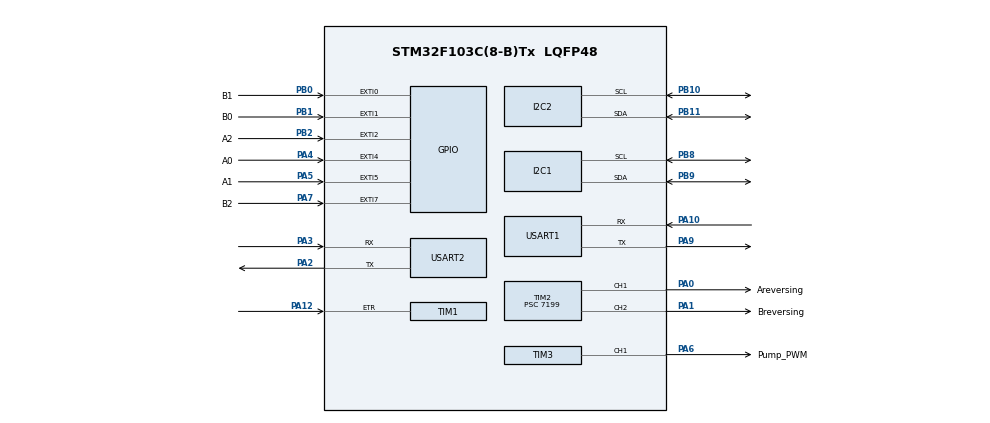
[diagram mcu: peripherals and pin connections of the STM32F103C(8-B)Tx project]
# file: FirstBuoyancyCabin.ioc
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Mcu.Family=STM32F1
PB10.Mode=I2C
SH.S_TIM1_ETR.0=TIM1_ETR,ClockSourceETR_Mode2
PA6.GPIO_Label=Pump_PWM
PB0.GPIO_Label=B1
TIM2.Channel-PWM\ Generation2\ CH2=TIM_CHANNEL_2
PB11.Signal=I2C2_SDA
ProjectManager.StackSize=0x400
PD1-OSC_OUT.Signal=RCC_OSC_OUT
Dma.USART1_TX.0.Priority=DMA_PRIORITY_MEDIUM
NVIC.EXTI1_IRQn=true\:0\:0\:false\:false\:true\:true\:true
PA12.Signal=S_TIM1_ETR
Dma.USART1_TX.0.Direction=DMA_MEMORY_TO_PERIPH
TIM3.Period=9999
TIM3.Channel-PWM\ Generation1\ CH1=TIM_CHANNEL_1
PB2.Signal=GPXTI2
PA14.Mode=Serial_Wire
TIM3.Prescaler=7199
PB1.GPIO_Label=B0
NVIC.TIM2_IRQn=true\:0\:0\:false\:false\:true\:true\:true
TIM2.Channel-PWM\ Generation1\ CH1=TIM_CHANNEL_1
SH.S_TIM3_CH1.0=TIM3_CH1,PWM Generation1 CH1
Dma.USART1_TX.0.PeriphDataAlignment=DMA_PDATAALIGN_BYTE
PB9.Signal=I2C1_SDA
Mcu.Package=LQFP48
TIM2.Prescaler=7199
PB1.Signal=GPXTI1
PA6.Signal=S_TIM3_CH1
USART2.VirtualMode=VM_ASYNC
PA10.Signal=USART1_RX
Dma.USART1_TX.0.Instance=DMA1_Channel4
NVIC.EXTI2_IRQn=true\:0\:0\:false\:false\:true\:true\:true
NVIC.DMA1_Channel4_IRQn=true\:0\:0\:false\:false\:true\:false\:true
Dma.Request0=USART1_TX
PA4.GPIO_Label=A0
VP_TIM3_VS_ClockSourceINT.Mode=Internal
PA3.Signal=USART2_RX
NVIC.EXTI4_IRQn=true\:0\:0\:false\:false\:true\:true\:true
Dma.USART1_TX.0.MemInc=DMA_MINC_ENABLE
PD1-OSC_OUT.Mode=HSE-External-Oscillator
Dma.USART1_TX.0.PeriphInc=DMA_PINC_DISABLE
PA10.Mode=Asynchronous
PD0-OSC_IN.Signal=RCC_OSC_IN
PA0-WKUP.GPIO_Label=Areversing
PA0-WKUP.Signal=S_TIM2_CH1_ETR
PA13.Signal=SYS_JTMS-SWDIO
PA3.Mode=Asynchronous
TIM1.AutoReloadPreload=TIM_AUTORELOAD_PRELOAD_ENABLE
SH.S_TIM2_CH2.0=TIM2_CH2,PWM Generation2 CH2
PA9.Mode=Asynchronous
PB11.Mode=I2C
ProjectManager.TargetToolchain=STM32CubeIDE
PB9.Mode=I2C
PA9.Signal=USART1_TX
PA1.Signal=S_TIM2_CH2
PD0-OSC_IN.Mode=HSE-External-Oscillator
PB10.Signal=I2C2_SCL
PA5.Signal=GPXTI5
Dma.USART1_TX.0.Mode=DMA_NORMAL
board=custom
RCC.APB2Freq_Value=8000000
VP_TIM2_VS_ClockSourceINT.Mode=Internal
PA1.GPIO_Label=Breversing
TIM2.Period=9999
PA13.Mode=Serial_Wire
Mcu.Name=STM32F103C(8-B)Tx
PA2.Signal=USART2_TX
NVIC.EXTI0_IRQn=true\:0\:0\:false\:false\:true\:true\:true
PA4.Signal=GPXTI4
PA7.GPIO_Label=B2
PA5.GPIO_Label=A1
USART1.VirtualMode=VM_ASYNC
SH.S_TIM2_CH1_ETR.0=TIM2_CH1,PWM Generation1 CH1
Dma.USART1_TX.0.MemDataAlignment=DMA_MDATAALIGN_BYTE
NVIC.EXTI9_5_IRQn=true\:0\:0\:false\:false\:true\:true\:true
PA14.Signal=SYS_JTCK-SWCLK
PB2.GPIO_Label=A2
ProjectManager.HeapSize=0x200
NVIC.PriorityGroup=NVIC_PRIORITYGROUP_4
PB8.Mode=I2C
PA2.Mode=Asynchronous
PB8.Signal=I2C1_SCL
TIM2.AutoReloadPreload=TIM_AUTORELOAD_PRELOAD_ENABLE
RCC.APB1Freq_Value=8000000
PB0.Signal=GPXTI0
PA7.Signal=GPXTI7

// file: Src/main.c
/* USER CODE BEGIN Header */
/**
  ******************************************************************************
  * @file           : main.c
  * @brief          : Main program body
  ******************************************************************************
  * @attention
  *
  * <h2><center>&copy; Copyright (c) 2021 STMicroelectronics.
  * All rights reserved.</center></h2>
  *
  * This software component is licensed by ST under BSD 3-Clause license,
  * the "License"; You may not use this file except in compliance with the
  * License. You may obtain a copy of the License at:
  *                        opensource.org/licenses/BSD-3-Clause
  *
  ******************************************************************************
  */
/* USER CODE END Header */
#include "main.h"
#include "dma.h"
#include "i2c.h"
#include "tim.h"
#include "usart.h"
#include "gpio.h"

/* USER CODE BEGIN Includes */
#include "pump.h"
#include <ms5837.h>
#include <stdio.h>
extern UART_HandleTypeDef huart1;   //声明串口

/* USER CODE END Includes */

/* USER CODE BEGIN PV */
extern struct state state;
/* USER CODE END PV */

void SystemClock_Config(void);

/* USER CODE BEGIN 0 */
#ifdef __GNUC__

#define PUTCHAR_PROTOTYPE int __io_putchar(int ch)

PUTCHAR_PROTOTYPE
{
    HAL_UART_Transmit(&huart1 ,(uint8_t*)&ch, 1, HAL_MAX_DELAY);
    return ch;
}
#endif
/* USER CODE END 0 */

int main(void)
{

  /* MCU Configuration--------------------------------------------------------*/

  /* Reset of all peripherals, Initializes the Flash interface and the Systick. */
  HAL_Init();

  /* Configure the system clock */
  SystemClock_Config();

  /* Initialize all configured peripherals */
  MX_GPIO_Init();
  MX_DMA_Init();
  MX_TIM1_Init();
  MX_TIM2_Init();
  MX_USART2_UART_Init();
  MX_I2C1_Init();
  MX_I2C2_Init();
  MX_TIM3_Init();
  MX_USART1_UART_Init();
  /* USER CODE BEGIN 2 */
    HAL_NVIC_DisableIRQ(EXTI0_IRQn);
    HAL_NVIC_DisableIRQ(EXTI1_IRQn);
    HAL_NVIC_DisableIRQ(EXTI2_IRQn);
    HAL_NVIC_DisableIRQ(EXTI4_IRQn);
    HAL_NVIC_DisableIRQ(EXTI9_5_IRQn);//默认先关闭所有IT

    TIM2->CCR1=2000;
    TIM2->CCR2=2000;//预设的占空比
    printf("Hello");
    //prom();

    HAL_TIM_Base_Start(&htim1);
    HAL_TIM_Base_Start_IT(&htim2);
    HAL_TIM_PWM_Start(&htim2,TIM_CHANNEL_1);

  /* USER CODE END 2 */

  /* Infinite loop */
  /* USER CODE BEGIN WHILE */
    uint16_t st=3,i=0;
    uint8_t send[]="Hello";
    //HAL_UART_Transmit_DMA(&huart1,send,sizeof(send));

  while (1)
  {
      printf("hello");
    if(st!=3)//仅供测试,要调试状态下手动修改
    {
        //SteeringValve(st);
        st=3;
    }

      //convert();//深度计算
      HAL_Delay(10);
    /* USER CODE END WHILE */

  }
}

void SystemClock_Config(void)
{
  RCC_OscInitTypeDef RCC_OscInitStruct = {0};
  RCC_ClkInitTypeDef RCC_ClkInitStruct = {0};

  /** Initializes the RCC Oscillators according to the specified parameters
  * in the RCC_OscInitTypeDef structure.
  */
  RCC_OscInitStruct.OscillatorType = RCC_OSCILLATORTYPE_HSI;
  RCC_OscInitStruct.HSIState = RCC_HSI_ON;
  RCC_OscInitStruct.HSICalibrationValue = RCC_HSICALIBRATION_DEFAULT;
  RCC_OscInitStruct.PLL.PLLState = RCC_PLL_NONE;
  if (HAL_RCC_OscConfig(&RCC_OscInitStruct) != HAL_OK)
  {
    Error_Handler();
  }
  /** Initializes the CPU, AHB and APB buses clocks
  */
  RCC_ClkInitStruct.ClockType = RCC_CLOCKTYPE_HCLK|RCC_CLOCKTYPE_SYSCLK
                              |RCC_CLOCKTYPE_PCLK1|RCC_CLOCKTYPE_PCLK2;
  RCC_ClkInitStruct.SYSCLKSource = RCC_SYSCLKSOURCE_HSI;
  RCC_ClkInitStruct.AHBCLKDivider = RCC_SYSCLK_DIV1;
  RCC_ClkInitStruct.APB1CLKDivider = RCC_HCLK_DIV1;
  RCC_ClkInitStruct.APB2CLKDivider = RCC_HCLK_DIV1;

  if (HAL_RCC_ClockConfig(&RCC_ClkInitStruct, FLASH_LATENCY_0) != HAL_OK)
  {
    Error_Handler();
  }
}

/* USER CODE BEGIN 4 */
void HAL_TIM_PeriodElapsedCallback(TIM_HandleTypeDef *htim)
{
    if (htim == (&htim2))//水量计算
    {
        if(IN == state.ValveState)state.amount+=htim1.Instance->CNT;
        else state.amount-=htim1.Instance->CNT;
        htim1.Instance->CNT=0;

    }

}
/* USER CODE END 4 */

void Error_Handler(void)
{
  __disable_irq();
  while (1)
  {
  }
}

/************************ (C) COPYRIGHT STMicroelectronics *****END OF FILE****/
